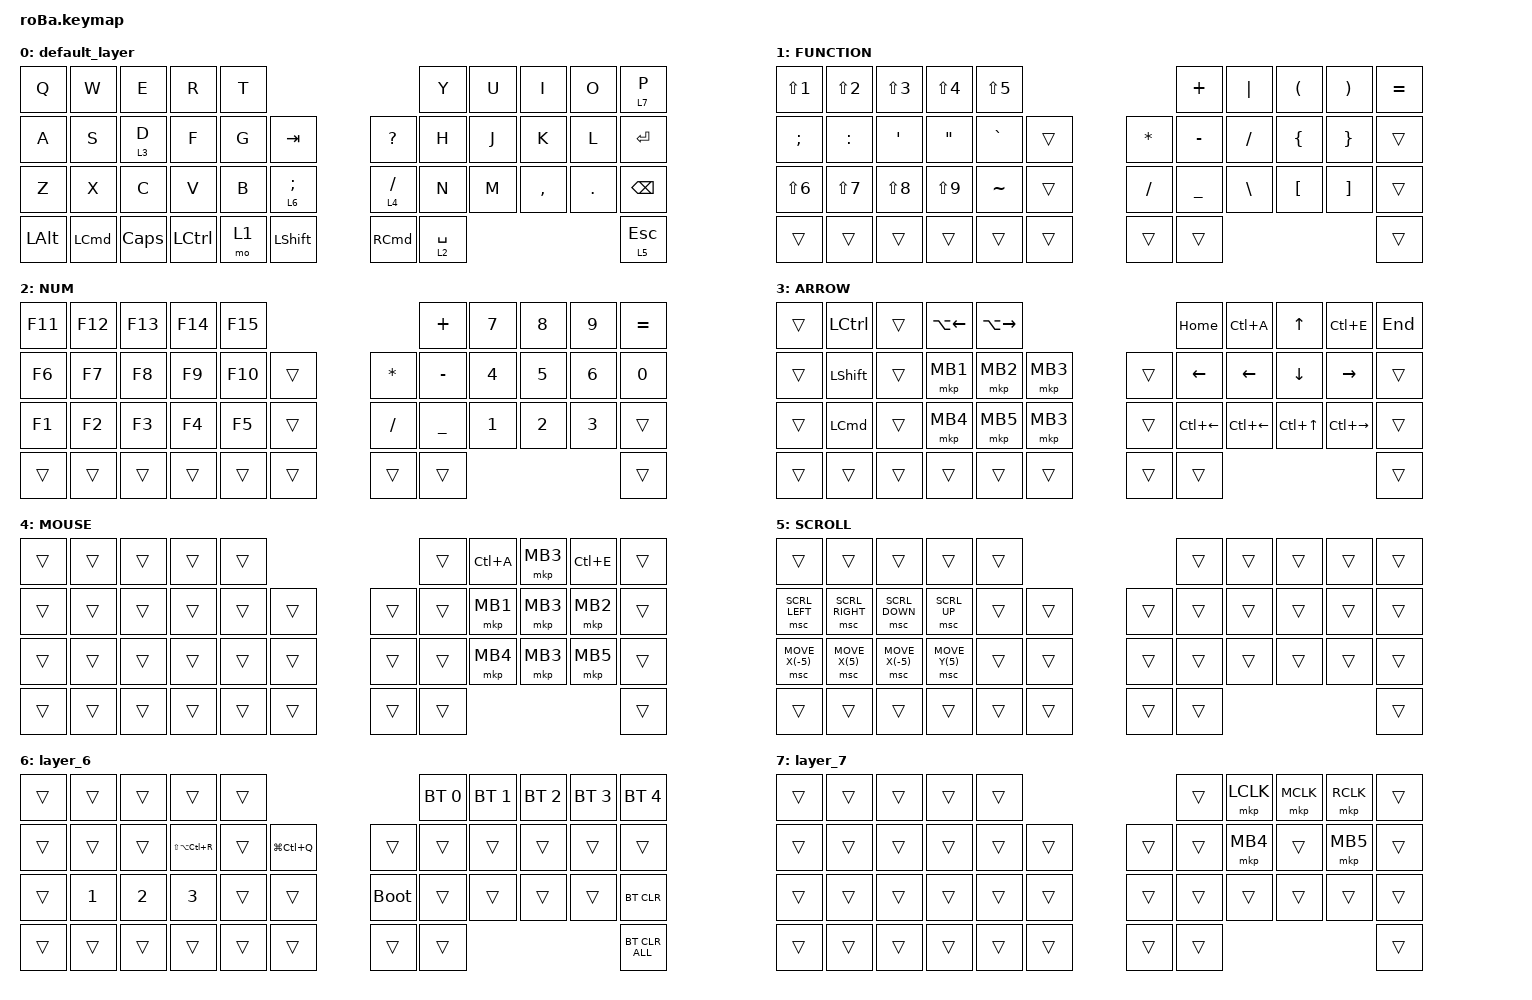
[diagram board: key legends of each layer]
#include <behaviors.dtsi>
#include <dt-bindings/zmk/bt.h>
#include <dt-bindings/zmk/keys.h>
#include <dt-bindings/zmk/pointing.h>

#define ZMK_POINTING_DEFAULT_SCRL_VAL 100
#define MOUSE 4
#define SCROLL 5

&mt {
    flavor = "balanced";
    quick-tap-ms = <0>;
};

/ {
    combos { compatible = "zmk,combos"; };

    macros {
        to_layer_0: to_layer_0 {
            compatible = "zmk,behavior-macro-one-param";
            #binding-cells = <1>;
            bindings = <&to 0 &macro_param_1to1 &kp MACRO_PLACEHOLDER>;
            label = "TO_LAYER_0";
        };
    };

    behaviors {
        lt_to_layer_0: lt_to_layer_0 {
            compatible = "zmk,behavior-hold-tap";
            label = "LAYER_TAP_TO_0";
            bindings = <&mo>, <&to_layer_0>;

            #binding-cells = <2>;
            tapping-term-ms = <200>;
        };
    };

    keymap {
        compatible = "zmk,keymap";

        default_layer {
            bindings = <
&kp Q         &kp W             &kp E         &kp R             &kp T                                                          &kp Y        &kp U  &kp I      &kp O    &lt 7 P
&kp A         &kp S             &lt 3 D       &kp F             &kp G  &kp TAB                         &kp QUESTION            &kp H        &kp J  &kp K      &kp L    &kp RETURN
&kp Z         &kp X             &kp C         &kp V             &kp B  &lt_to_layer_0 6 SEMICOLON      &lt_to_layer_0 4 SLASH  &kp N        &kp M  &kp COMMA  &kp DOT  &kp BACKSPACE
&kp LEFT_ALT  &kp LEFT_COMMAND  &kp CAPSLOCK  &kp LEFT_CONTROL  &mo 1  &kp LEFT_SHIFT                  &kp RIGHT_COMMAND       &lt 2 SPACE                             &lt 5 ESCAPE
            >;
        };

        FUNCTION {
            bindings = <
&kp LS(N1)  &kp LS(N2)  &kp LS(N3)  &kp LS(N4)         &kp LS(N5)                            &kp PLUS        &kp PIPE       &kp LEFT_PARENTHESIS  &kp RIGHT_PARENTHESIS  &kp EQUAL
&kp SEMI    &kp COLON   &kp APOS    &kp DOUBLE_QUOTES  &kp GRAVE   &trans      &kp ASTERISK  &kp MINUS       &kp SLASH      &kp LEFT_BRACE        &kp RIGHT_BRACE        &trans
&kp LS(N6)  &kp LS(N7)  &kp LS(N8)  &kp LS(N9)         &kp TILDE   &trans      &kp FSLH      &kp UNDERSCORE  &kp BACKSLASH  &kp LEFT_BRACKET      &kp RIGHT_BRACKET      &trans
&trans      &trans      &trans      &trans             &trans      &trans      &trans        &trans                                                                      &trans
            >;
        };

        NUM {
            bindings = <
&kp F11  &kp F12  &kp F13  &kp F14  &kp F15                            &kp PLUS   &kp N7  &kp N8  &kp N9  &kp EQUAL
&kp F6   &kp F7   &kp F8   &kp F9   &kp F10  &trans      &kp ASTERISK  &kp MINUS  &kp N4  &kp N5  &kp N6  &kp N0
&kp F1   &kp F2   &kp F3   &kp F4   &kp F5   &trans      &kp FSLH      &kp UNDER  &kp N1  &kp N2  &kp N3  &trans
&trans   &trans   &trans   &trans   &trans   &trans      &trans        &trans                             &trans
            >;
        };

        ARROW {
            bindings = <
&trans  &kp LEFT_CONTROL  &trans  &kp LA(LEFT_ARROW)  &kp LA(RIGHT_ARROW)                        &kp HOME      &kp LC(A)     &kp UP      &kp LC(E)      &kp END
&trans  &kp LEFT_SHIFT    &trans  &mkp MB1            &mkp MB2             &mkp MB3      &trans  &kp LEFT      &kp LEFT      &kp DOWN    &kp RIGHT      &trans
&trans  &kp LEFT_COMMAND  &trans  &mkp MB4            &mkp MB5             &mkp MB3      &trans  &kp LC(LEFT)  &kp LC(LEFT)  &kp LC(UP)  &kp LC(RIGHT)  &trans
&trans  &trans            &trans  &trans              &trans               &trans        &trans  &trans                                                 &trans
            >;
        };

        MOUSE {
            bindings = <
&trans  &trans  &trans  &trans  &trans                      &trans  &kp LC(A)  &mkp MB3  &kp LC(E)  &trans
&trans  &trans  &trans  &trans  &trans  &trans      &trans  &trans  &mkp MB1   &mkp MB3  &mkp MB2   &trans
&trans  &trans  &trans  &trans  &trans  &trans      &trans  &trans  &mkp MB4   &mkp MB3  &mkp MB5   &trans
&trans  &trans  &trans  &trans  &trans  &trans      &trans  &trans                                  &trans
            >;
        };

        SCROLL {
            bindings = <
&trans           &trans           &trans           &trans          &trans                      &trans  &trans  &trans  &trans  &trans
&msc SCRL_LEFT   &msc SCRL_RIGHT  &msc SCRL_DOWN   &msc SCRL_UP    &trans  &trans      &trans  &trans  &trans  &trans  &trans  &trans
&msc MOVE_X(-5)  &msc MOVE_X(5)   &msc MOVE_X(-5)  &msc MOVE_Y(5)  &trans  &trans      &trans  &trans  &trans  &trans  &trans  &trans
&trans           &trans           &trans           &trans          &trans  &trans      &trans  &trans                          &trans
            >;
        };

        layer_6 {
            bindings = <
&trans  &trans        &trans        &trans             &trans                                  &bt BT_SEL 0  &bt BT_SEL 1  &bt BT_SEL 2  &bt BT_SEL 3  &bt BT_SEL 4
&trans  &trans        &trans        &kp LS(LA(LC(R)))  &trans  &kp LG(LC(Q))      &trans       &trans        &trans        &trans        &trans        &trans
&trans  &kp NUMBER_1  &kp NUMBER_2  &kp NUMBER_3       &trans  &trans             &bootloader  &trans        &trans        &trans        &trans        &bt BT_CLR
&trans  &trans        &trans        &trans             &trans  &trans             &trans       &trans                                                  &bt BT_CLR_ALL
            >;
        };

        layer_7 {
            bindings = <
&trans  &trans  &trans  &trans  &trans                      &trans  &mkp LCLK  &mkp MCLK  &mkp RCLK  &trans
&trans  &trans  &trans  &trans  &trans  &trans      &trans  &trans  &mkp MB4   &trans     &mkp MB5   &trans
&trans  &trans  &trans  &trans  &trans  &trans      &trans  &trans  &trans     &trans     &trans     &trans
&trans  &trans  &trans  &trans  &trans  &trans      &trans  &trans                                   &trans
            >;
        };
    };
};
